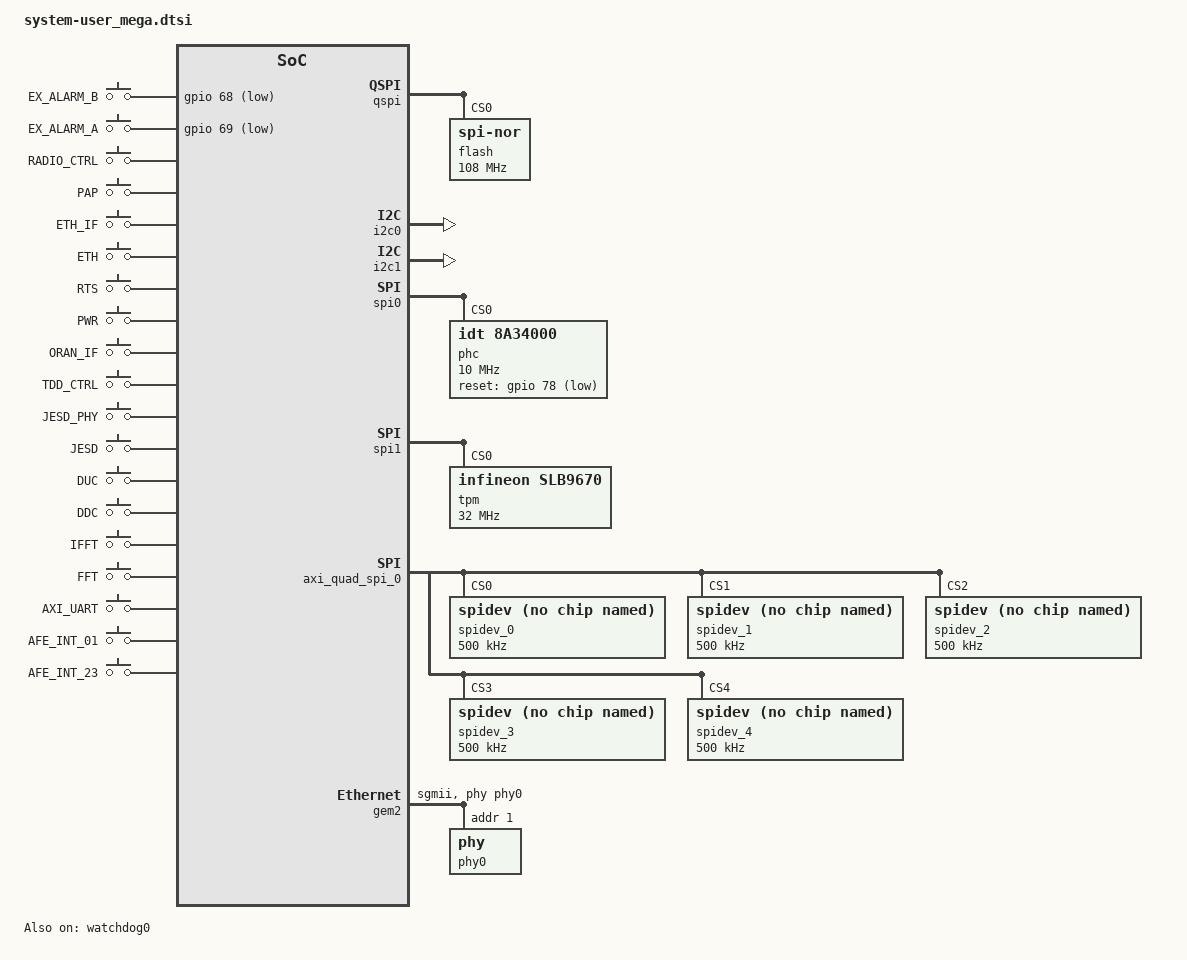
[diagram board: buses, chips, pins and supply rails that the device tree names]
/include/ "system-conf.dtsi"
#include <dt-bindings/interrupt-controller/irq.h>
/ {
	gpio_keys:@0 {
		compatible = "gpio-keys";
		label = "Mega error report buttons";

		gpio_irq0 {
			label = "EX_ALARM_B";
			gpios = <&gpio 68 1>;
			linux,code = <0x100>;
			gpio-key,level-trigger;
			debounce-interval = <20>;
		};

		gpio_irq1 {
			label = "EX_ALARM_A";
			gpios = <&gpio 69 1>;
			linux,code = <0x101>;
			gpio-key,level-trigger;
			debounce-interval = <20>;
		};
	};
};

&axi_uartlite_0 {
	status = "disabled";
};

&qspi {
	status = "okay";
	is-dual = <0>;
	num-cs = <1>;
	flash@0 {
		compatible ="jedec,spi-nor";
		reg = <0x0>;
		spi-tx-bus-width = <1>;
		spi-rx-bus-width = <4>;
		spi-max-frequency = <108000000>;
		#address-cells = <1>;
		#size-cells = <1>;
	};
};

&i2c0 {
	status = "okay";
};

&i2c1 {
	status = "okay";
};

&spi0 {
	status = "okay";
	num-cs = <1>;
	phc@0 {
		compatible="idt,8a34000";
		reg = <0>;
		spi-max-frequency = <10000000>;
		reset-gpio = <&gpio 78 1>;//GPIO_ACTIVE_LOW
	};
};

&spi1 {
	status = "okay";
	num-cs = <1>;
	tpm@0 {
		compatible = "infineon,slb9670";
		#address-cells = <1>;
		#size-cells = <0>;
		spi-max-frequency = <32000000>;
		reg = <0>;
		status = "okay";
	};
};

&axi_quad_spi_0 {
	status = "okay";
	num-cs = <8>;
	u-boot,dm-pre-reloc;

	spidev_0@0 {
		#address-cells = <1>;
		#size-cells = <1>;
		compatible = "rohm,dh2228fv";
		reg = <0>;
		spi-max-frequency = <500000>;
	};

	spidev_1@1 {
		#address-cells = <1>;
		#size-cells = <1>;
		compatible = "rohm,dh2228fv";
		reg = <1>;
		spi-max-frequency = <500000>;
	};

	spidev_2@2 {
		#address-cells = <1>;
		#size-cells = <1>;
		compatible = "rohm,dh2228fv";
		reg = <2>;
		spi-max-frequency = <500000>;
	};

	spidev_3@3 {
		#address-cells = <1>;
		#size-cells = <1>;
		compatible = "rohm,dh2228fv";
		reg = <3>;
		spi-max-frequency = <500000>;
	};

	spidev_4@4 {
		#address-cells = <1>;
		#size-cells = <1>;
		compatible = "rohm,dh2228fv";
		reg = <4>;
		spi-max-frequency = <500000>;
	};
};

&gem2 {
	status = "okay";
	phy-handle = <&phy0>;
	phy-mode = "sgmii";
	is-internal-pcspma = <0x1>;
	phy0: phy@1 {
		reg = <0x1>;
	};
};

&amba_pl {
	fpga: fpga@a0000000 {
		compatible = "generic-uio";
		reg = <0x0 0xA0000000 0x0 0x20000000>;
	};

	dpd_0_USER: dpd_user@a4000000 {
		compatible = "generic-uio";
		reg = <0x0 0xa4000000 0x0 0x20000>;
	};
};

// &debug_bridge_0 {
// 	compatible = "xlnx,xvc";
// };

&dpd_0{
	compatible = "generic-uio";
	reg = <0x0 0xa8000000 0x0 0x4000000>;
};

&watchdog0 {
    status = "okay";
    reset-on-timeout;
    timeout-sec = <20>;
};

&support_1588_2step_timer1588_subs_timer_1588_v2_0_0 {
	compatible = "xlnx,timer-1588-2.0";
	xlnx,period = <4000000>;
        pps_in_fifo = <&axi_fifo_mm_s_0>;
};

&xxv_ethernet_0 {
	//status = "disabled";
	axistream-connected = <&eth_axi_dma>;
	axistream-control-connected = <&eth_axi_dma>;
	axififo-connected = <&support_1588_2step_tx_ts_fifo_axi_fifo_mm_s_0>;
	xlnx,rxtsfifo = <&support_1588_2step_rx_ts_fifo_axi_fifo_mm_s_0>;
	xlnx,num-queues = /bits/ 16 <0x1>;
	xlnx,channel-ids = "1";
	xlnx,include-dre;
	interrupt-names = "mm2s_ch1_introut", "s2mm_ch1_introut";
	interrupt-parent = <&gic>;
	interrupts = <0 107 4 0 109 4>;
	local-mac-address = [00 0A 35 00 1A AE];
	xlnx,rxmem = <0x3000>;
};

&xxv_ethernet_1 {
	axistream-connected = <&eth_axi_dma>;
	axistream-control-connected = <&eth_axi_dma>;
	axififo-connected = <&support_1588_2step1_tx_ts_fifo_axi_fifo_mm_s_0>;
	xlnx,rxtsfifo = <&support_1588_2step1_rx_ts_fifo_axi_fifo_mm_s_0>;
	xlnx,num-queues = /bits/ 16 <0x1>;
	xlnx,channel-ids = "2";
	xlnx,include-dre;
	interrupt-names = "mm2s_ch2_introut", "s2mm_ch2_introut";
	interrupt-parent = <&gic>;
	interrupts = <0 108 4 0 110 4>;
	local-mac-address = [00 0A 35 00 1A AC];
	xlnx,rxmem = <0x3000>;
};

&eth_axi_dma {
	compatible = "xlnx,eth-dma";
	xlnx,include-dre;
};

&gpio_keys {

	pl_irq0{
		label = "RADIO_CTRL";
		linux,code = <1>;
		interrupt-parent = <&axi_intc_0>;
		interrupts = <0 IRQ_TYPE_NONE>;
		debounce-interval = <0>;
	};

	pl_irq1{
		label = "PAP";
		linux,code = <2>;
		interrupt-parent = <&axi_intc_0>;
		interrupts = <1 IRQ_TYPE_NONE>;
		debounce-interval = <0>;
	};

	pl_irq2{
		label = "ETH_IF";
		linux,code = <3>;
		interrupt-parent = <&axi_intc_0>;
		interrupts = <2 IRQ_TYPE_NONE>;
		debounce-interval = <0>;
	};

	pl_irq3{
		label = "ETH";
		linux,code = <4>;
		interrupt-parent = <&axi_intc_0>;
		interrupts = <3 IRQ_TYPE_NONE>;
		debounce-interval = <0>;
	};

	pl_irq5{
		label = "RTS";
		linux,code = <6>;
		interrupt-parent = <&axi_intc_0>;
		interrupts = <5 IRQ_TYPE_NONE>;
		debounce-interval = <0>;
	};

	pl_irq6{
		label = "PWR";
		linux,code = <7>;
		interrupt-parent = <&axi_intc_0>;
		interrupts = <6 IRQ_TYPE_NONE>;
		debounce-interval = <0>;
	};

	pl_irq8{
		label = "ORAN_IF";
		linux,code = <9>;
		interrupt-parent = <&axi_intc_0>;
		interrupts = <8 IRQ_TYPE_NONE>;
		debounce-interval = <0>;
	};

	pl_irq12{
		label = "TDD_CTRL";
		linux,code = <13>;
		interrupt-parent = <&axi_intc_0>;
		interrupts = <12 IRQ_TYPE_NONE>;
		debounce-interval = <0>;
	};

	pl_irq14{
		label = "JESD_PHY";
		linux,code = <15>;
		interrupt-parent = <&axi_intc_0>;
		interrupts = <14 IRQ_TYPE_NONE>;
		debounce-interval = <0>;
	};

	pl_irq15{
		label = "JESD";
		linux,code = <16>;
		interrupt-parent = <&axi_intc_0>;
		interrupts = <15 IRQ_TYPE_NONE>;
		debounce-interval = <0>;
	};

	pl_irq16{
		label = "DUC";
		linux,code = <17>;
		interrupt-parent = <&axi_intc_0>;
		interrupts = <16 IRQ_TYPE_NONE>;
		debounce-interval = <0>;
	};

	pl_irq17{
		label = "DDC";
		linux,code = <18>;
		interrupt-parent = <&axi_intc_0>;
		interrupts = <17 IRQ_TYPE_NONE>;
		debounce-interval = <0>;
	};

	pl_irq18{
		label = "IFFT";
		linux,code = <19>;
		interrupt-parent = <&axi_intc_0>;
		interrupts = <18 IRQ_TYPE_NONE>;
		debounce-interval = <0>;
	};

	pl_irq19{
		label = "FFT";
		linux,code = <20>;
		interrupt-parent = <&axi_intc_0>;
		interrupts = <19 IRQ_TYPE_NONE>;
		debounce-interval = <0>;
	};

	pl_irq25{
		label = "AXI_UART";
		linux,code = <26>;
		interrupt-parent = <&axi_intc_0>;
		interrupts = <25 IRQ_TYPE_NONE>;
		debounce-interval = <0>;
	};

	pl_irq26{
		label = "AFE_INT_01";
		linux,code = <27>;
		interrupt-parent = <&axi_intc_0>;
		interrupts = <26 IRQ_TYPE_NONE>;
		debounce-interval = <0>;
	};

	pl_irq27{
		label = "AFE_INT_23";
		linux,code = <28>;
		interrupt-parent = <&axi_intc_0>;
		interrupts = <27 IRQ_TYPE_NONE>;
		debounce-interval = <0>;
	};
};
